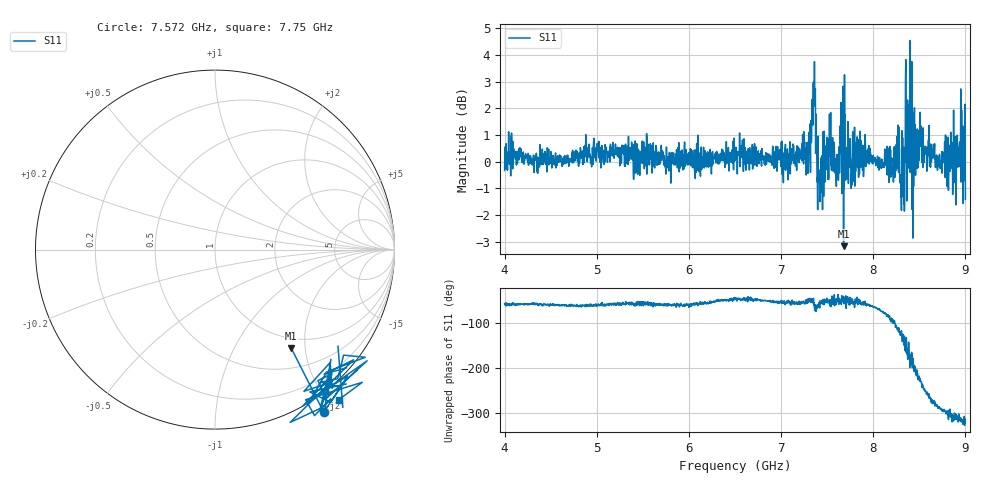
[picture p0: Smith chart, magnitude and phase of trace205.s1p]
! Created with skrf 1.8.0 (http://scikit-rf.org).
# Hz S RI R 50.0
!freq ReS11 ImS11
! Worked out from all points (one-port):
!   1601 points, 4 GHz to 9 GHz, reference 50 ohm
!   lowest |S11| = -3.2 dB at 7.678 GHz (marker M1), VSWR 5.55, Z = 40.9 - j86.8 ohm
!   |S11| at or under -10 dB: nowhere
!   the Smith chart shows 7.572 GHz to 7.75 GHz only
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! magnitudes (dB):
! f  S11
! 4 GHz  -0.3
! 4.066 GHz  -0.5
! 4.625 GHz  -0.2
! 5.25 GHz  -0.2
! 5.875 GHz  -0.2
! 6.5 GHz  0.0
! 7.125 GHz  0.4
! 7.294 GHz  -0.1
! 7.347 GHz  2.1
! 7.362 GHz  3.7
! 7.4 GHz  1.0
! 7.428 GHz  -0.5
! 7.512 GHz  0.8
! 7.609 GHz  -0.5
! 7.65 GHz  2.2
! 7.678 GHz  -3.2
! 7.75 GHz  0.7
! 7.784 GHz  -0.7
! 7.85 GHz  -0.5
! 8.216 GHz  -0.4
! 8.259 GHz  0.6
! 8.316 GHz  0.2
! 8.375 GHz  1.1
! 8.447 GHz  2.0
! 8.497 GHz  0.1
! 8.722 GHz  -0.1
! 8.972 GHz  -0.3
! 9 GHz  -1.4
